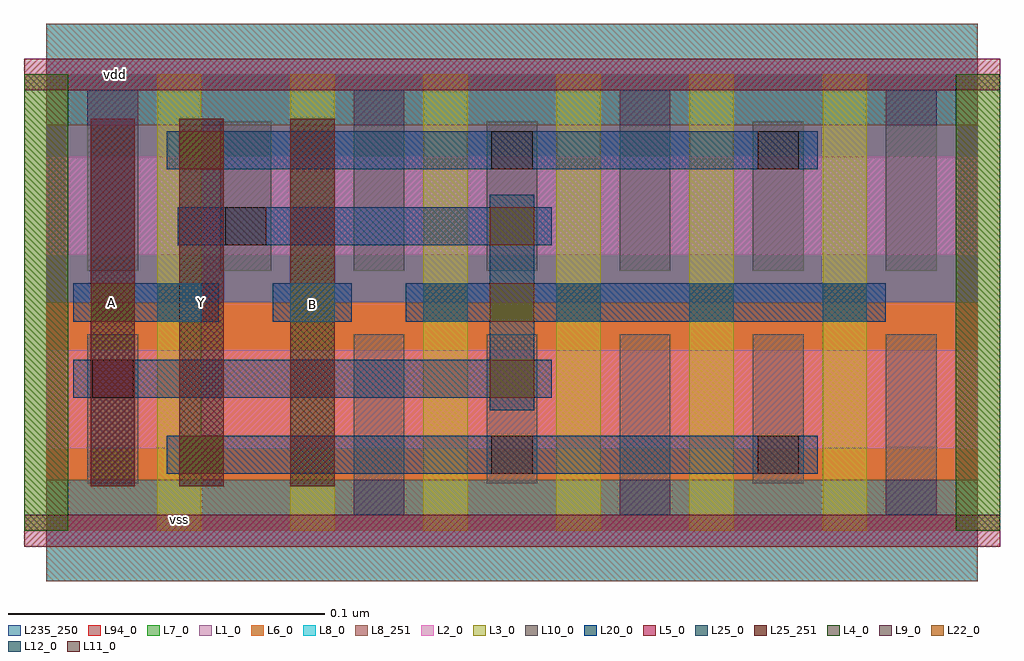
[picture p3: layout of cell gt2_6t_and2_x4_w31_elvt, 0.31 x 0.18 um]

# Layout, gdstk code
import gdstk
lib = gdstk.Library(unit=1e-6, precision=1e-10)
def R(c, l, rs):  # rectangles x0, y0, x1, y1
    for r in rs: c.add(gdstk.rectangle(r[:2], r[2:], *l))
def A(c, l, x, y, w, h, nx, ny, dx, dy):  # array of equal rectangles
    R(c, l, [(x+i*dx, y+j*dy, x+i*dx+w, y+j*dy+h) for i in range(nx) for j in range(ny)])
L1_0 = (1, 0)
L2_0 = (2, 0)
L3_0 = (3, 0)
L4_0 = (4, 0)
L5_0 = (5, 0)
L6_0 = (6, 0)
L7_0 = (7, 0)
L8_0 = (8, 0)
L8_251 = (8, 251)
L9_0 = (9, 0)
L10_0 = (10, 0)
L11_0 = (11, 0)
L12_0 = (12, 0)
L20_0 = (20, 0)
L22_0 = (22, 0)
L25_0 = (25, 0)
L25_251 = (25, 251)
L94_0 = (94, 0)
L235_250 = (235, 250)

gt2_6t_and2_x4_w31_elvt = lib.new_cell('gt2_6t_and2_x4_w31_elvt')
R(gt2_6t_and2_x4_w31_elvt, L1_0, [(0,0.072,0.294,0.144)])
R(gt2_6t_and2_x4_w31_elvt, L2_0, [(0,0.026,0.294,0.057), (0,0.087,0.294,0.118)])
A(gt2_6t_and2_x4_w31_elvt, L3_0, -0.007, 0, 0.014, 0.144, 8, 1, 0.042, 0)
R(gt2_6t_and2_x4_w31_elvt, L4_0, [(-0.007,0,0.007,0.144), (0.287,0,0.301,0.144)])
R(gt2_6t_and2_x4_w31_elvt, L5_0, [(-0.007,-0.005,0.301,0.005), (-0.007,0.139,0.301,0.149)])
R(gt2_6t_and2_x4_w31_elvt, L6_0, [(0,0,0.294,0.072)])
R(gt2_6t_and2_x4_w31_elvt, L7_0, [(0,0.072,0.294,0.144)])
R(gt2_6t_and2_x4_w31_elvt, L8_0, [(0,-0.016,0.294,0.016), (0,0.128,0.294,0.16)])
R(gt2_6t_and2_x4_w31_elvt, L8_251, [(0,-0.016,0.294,0.016), (0,0.128,0.294,0.16)])
A(gt2_6t_and2_x4_w31_elvt, L9_0, 0.097, 0.005, 0.016, 0.011, 3, 1, 0.084, 0)
A(gt2_6t_and2_x4_w31_elvt, L9_0, 0.013, 0.128, 0.016, 0.011, 4, 1, 0.084, 0)
A(gt2_6t_and2_x4_w31_elvt, L10_0, 0.097, 0.005, 0.016, 0.057, 3, 1, 0.084, 0)
A(gt2_6t_and2_x4_w31_elvt, L10_0, 0.013, 0.082, 0.016, 0.057, 4, 1, 0.084, 0)
A(gt2_6t_and2_x4_w31_elvt, L10_0, 0.055, 0.082, 0.016, 0.047, 3, 1, 0.084, 0)
R(gt2_6t_and2_x4_w31_elvt, L10_0, [(0.013,0.015,0.029,0.062), (0.139,0.015,0.155,0.062), (0.223,0.015,0.239,0.062)])
R(gt2_6t_and2_x4_w31_elvt, L11_0, [(0.1405,0.018,0.1535,0.03), (0.2245,0.018,0.2375,0.03), (0.0145,0.042,0.0275,0.054), (0.0565,0.09,0.0695,0.102), (0.1405,0.114,0.1535,0.126), (0.2245,0.114,0.2375,0.126)])
A(gt2_6t_and2_x4_w31_elvt, L12_0, 0.035, 0.066, 0.014, 0.012, 6, 1, 0.042, 0)
R(gt2_6t_and2_x4_w31_elvt, L20_0, [(0.038,0.018,0.2435,0.03), (0.0085,0.042,0.1595,0.054), (0.0085,0.066,0.0545,0.078), (0.0715,0.066,0.0965,0.078), (0.1135,0.066,0.265,0.078), (0.0415,0.09,0.1595,0.102), (0.038,0.114,0.2435,0.126)])
A(gt2_6t_and2_x4_w31_elvt, L22_0, 0.014, 0.066, 0.014, 0.012, 3, 1, 0.063, 0)
R(gt2_6t_and2_x4_w31_elvt, L22_0, [(0.042,0.018,0.056,0.03), (0.14,0.042,0.154,0.054), (0.14,0.09,0.154,0.102), (0.042,0.114,0.056,0.126)])
R(gt2_6t_and2_x4_w31_elvt, L25_0, [(0.014,0.014,0.028,0.13), (0.042,0.014,0.056,0.13), (0.077,0.014,0.091,0.13), (0.14,0.038,0.154,0.106)])
R(gt2_6t_and2_x4_w31_elvt, L25_251, [(0.014,0.014,0.028,0.13), (0.042,0.014,0.056,0.13), (0.077,0.014,0.091,0.13)])
R(gt2_6t_and2_x4_w31_elvt, L94_0, [(0,0,0.294,0.144)])
R(gt2_6t_and2_x4_w31_elvt, L235_250, [(0,0,0.294,0.144)])
gt2_6t_and2_x4_w31_elvt.add(gdstk.Label('vdd', (0.022,0.144), layer=8, texttype=251))
gt2_6t_and2_x4_w31_elvt.add(gdstk.Label('vss', (0.042,0.0035), layer=8, texttype=251))
gt2_6t_and2_x4_w31_elvt.add(gdstk.Label('A', (0.0205,0.072), layer=25, texttype=251))
gt2_6t_and2_x4_w31_elvt.add(gdstk.Label('B', (0.084,0.0715), layer=25, texttype=251))
gt2_6t_and2_x4_w31_elvt.add(gdstk.Label('Y', (0.049,0.072), layer=25, texttype=251))

lib.write_gds('gt2_6t_and2_x4_w31_elvt.gds')
